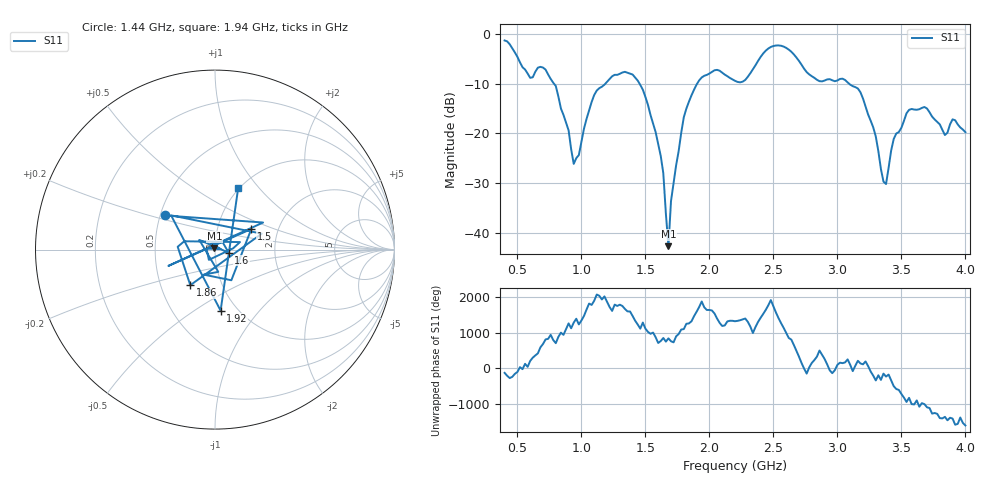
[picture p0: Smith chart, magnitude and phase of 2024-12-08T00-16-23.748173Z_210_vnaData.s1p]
!Created with skrf (http://scikit-rf.org).
# Hz S RI R 50.0
!freq ReS11 ImS11
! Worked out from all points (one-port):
!   181 points, 400 MHz to 4 GHz, reference 50 ohm
!   lowest |S11| = -42.7 dB at 1.68 GHz (marker M1), VSWR 1.01, Z = 49.7 + j0.647 ohm
!   |S11| at or under -10 dB: 785.9 MHz to 1.187 GHz (401.1 MHz wide, 40.7 % of centre); 1.454 GHz to 1.904 GHz (449.6 MHz wide, 26.8 % of centre); 3.092 GHz to end of sweep
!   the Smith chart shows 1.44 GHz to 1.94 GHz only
!   S11 on the Smith chart (normalised r, x): 1.44 GHz: 0.53, +0.23; 1.5 GHz: 1.46, +0.35; 1.6 GHz: 1.16, -0.04; 1.86 GHz: 0.71, -0.30; 1.92 GHz: 0.84, -0.65; 1.94 GHz: 0.99, +0.78
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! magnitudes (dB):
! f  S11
! 400 MHz  -1.3
! 600 MHz  -8.8
! 720 MHz  -7.2
! 860 MHz  -16.3
! 940 MHz  -26.1
! 1.1 GHz  -12.3
! 1.3 GHz  -8.0
! 1.44 GHz  -9.4
! 1.5 GHz  -12.7
! 1.6 GHz  -22.2
! 1.64 GHz  -28.0
! 1.68 GHz  -42.7
! 1.7 GHz  -33.6
! 1.76 GHz  -23.5
! 1.8 GHz  -16.7
! 1.86 GHz  -12.3
! 1.92 GHz  -9.3
! 1.94 GHz  -8.7
! 2.2 GHz  -9.4
! 2.48 GHz  -2.6
! 2.66 GHz  -4.1
! 2.86 GHz  -9.5
! 3.1 GHz  -10.2
! 3.2 GHz  -13.0
! 3.38 GHz  -30.2
! 3.44 GHz  -21.1
! 3.56 GHz  -15.3
! 4 GHz  -19.8
